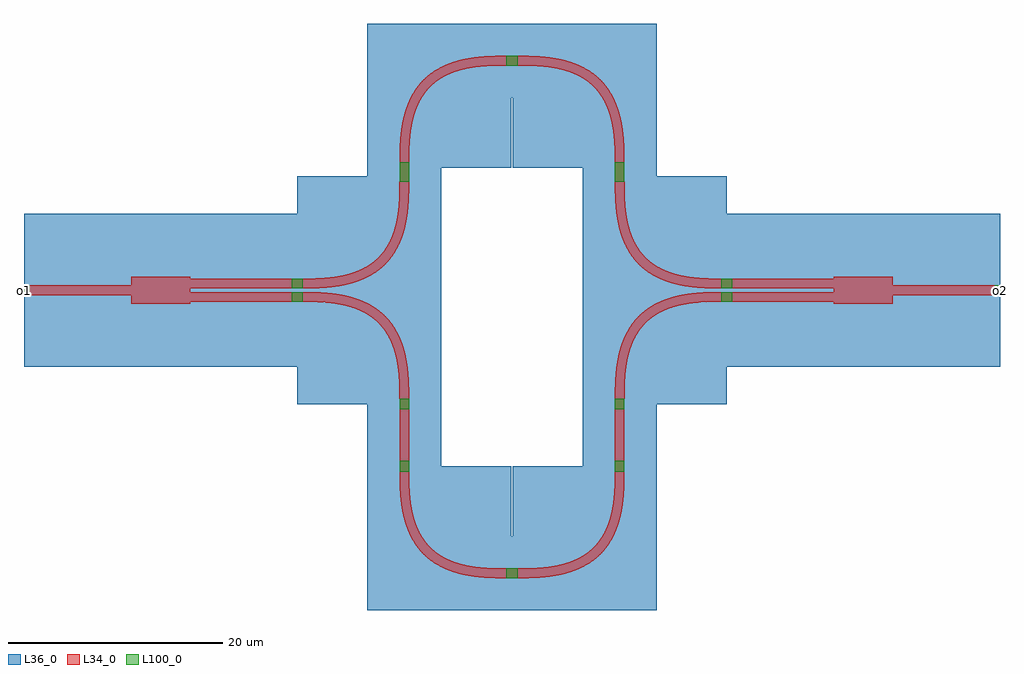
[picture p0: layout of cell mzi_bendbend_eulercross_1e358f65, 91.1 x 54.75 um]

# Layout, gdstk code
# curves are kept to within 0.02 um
from math import pi, radians
import gdstk
lib = gdstk.Library(unit=1e-6, precision=1e-09)
def R(c, l, rs):  # rectangles x0, y0, x1, y1
    for r in rs: c.add(gdstk.rectangle(r[:2], r[2:], *l))
def P(c, l, *ps):  # polygons
    for p in ps: c.add(gdstk.Polygon(p, *l))
L34_0 = (34, 0)
L36_0 = (36, 0)
L100_0 = (100, 0)

mmi1x2_cross_sectionfab_ = lib.new_cell('mmi1x2_cross_sectionfab_7f6a93e6')
R(mmi1x2_cross_sectionfab_, L34_0, [(-2.75,-1.25,2.75,1.25)])
P(mmi1x2_cross_sectionfab_, L34_0, [(12.75,-1.075),(2.75,-1.125),(2.75,-0.125),(12.75,-0.175)],
  [(12.75,0.175),(2.75,0.125),(2.75,1.125),(12.75,1.075)],
  [(-12.75,0.45),(-2.75,0.5),(-2.75,-0.5),(-12.75,-0.45)])
R(mmi1x2_cross_sectionfab_, L36_0, [(-12.75,-7.125,12.75,7.125), (2.75,-4.125,12.75,2.875), (-12.75,-3.5,-2.75,3.5), (2.75,-2.875,12.75,4.125)])
R(mmi1x2_cross_sectionfab_, L100_0, [(12.25,-1.075,12.75,-0.175), (-12.75,-0.45,-12.25,0.45), (12.25,0.175,12.75,1.075)])
mmi1x2_cross_sectionfab_.add(gdstk.Label('o3', (12.75,-0.625), layer=100, texttype=0))
mmi1x2_cross_sectionfab_.add(gdstk.Label('o2', (12.75,0.625), layer=100, texttype=0))
mmi1x2_cross_sectionfab_.add(gdstk.Label('o1', (-12.75,0), layer=100, texttype=0))

bend_euler_cross_sectio_ = lib.new_cell('bend_euler_cross_sectio_eee690af')
P(bend_euler_cross_sectio_, L34_0, [(0,-0.45),(1.608,-0.435),(2.805,-0.37),(4.007,-0.217),(4.916,-0.018),(5.81,0.269),(6.672,0.659),(7.523,1.192),(8.178,1.75),(8.778,2.437),(9.245,3.153),(9.658,4.006),(9.979,4.941),(10.217,5.993),(10.357,7.051),(10.429,8.201),(10.45,10),(9.55,10),(9.538,8.51),(9.477,7.317),(9.36,6.326),(9.16,5.358),(8.89,4.511),(8.525,3.711),(8.109,3.047),(7.578,2.422),(6.953,1.891),(6.289,1.475),(5.489,1.11),(4.642,0.84),(3.674,0.64),(2.683,0.523),(1.49,0.462),(0,0.45)])
R(bend_euler_cross_sectio_, L36_0, [(0,-3.45,13.45,10)])
R(bend_euler_cross_sectio_, L100_0, [(0,-0.45,0.5,0.45), (9.55,9.5,10.45,10)])
bend_euler_cross_sectio_.add(gdstk.Label('o1', (0,0), layer=100, texttype=0))
bend_euler_cross_sectio_.add(gdstk.Label('o2', (10,10), layer=100, texttype=0))

straight_cross_sectionf_ = lib.new_cell('straight_cross_sectionf_6f26f0ba')
R(straight_cross_sectionf_, L34_0, [(0,-0.45,0.8,0.45)])
R(straight_cross_sectionf_, L36_0, [(0,-3.45,0.8,3.45)])
R(straight_cross_sectionf_, L100_0, [(0,-0.45,0.5,0.45), (0.3,-0.45,0.8,0.45)])
straight_cross_sectionf_.add(gdstk.Label('o1', (0,0), layer=100, texttype=0))
straight_cross_sectionf_.add(gdstk.Label('o2', (0.8,0), layer=100, texttype=0))

c_straight_cross_sectionf_ = lib.new_cell('straight_cross_sectionf_95696871')
R(c_straight_cross_sectionf_, L34_0, [(0,-0.45,0.1,0.45)])
R(c_straight_cross_sectionf_, L36_0, [(0,-3.45,0.1,3.45)])
R(c_straight_cross_sectionf_, L100_0, [(-0.4,-0.45,0.1,0.45), (0,-0.45,0.5,0.45)])
c_straight_cross_sectionf_.add(gdstk.Label('o1', (0,0), layer=100, texttype=0))
c_straight_cross_sectionf_.add(gdstk.Label('o2', (0.1,0), layer=100, texttype=0))

mzi_arm_bendbend_eulerc_ = lib.new_cell('mzi_arm_bendbend_eulerc_c81fd012')
mzi_arm_bendbend_eulerc_.add(gdstk.Reference(bend_euler_cross_sectio_, (0,0)))
mzi_arm_bendbend_eulerc_.add(gdstk.Reference(straight_cross_sectionf_, (10,10), rotation=pi/2))
mzi_arm_bendbend_eulerc_.add(gdstk.Reference(bend_euler_cross_sectio_, (20,20.8), rotation=pi))
mzi_arm_bendbend_eulerc_.add(gdstk.Reference(c_straight_cross_sectionf_, (20,20.8)))
mzi_arm_bendbend_eulerc_.add(gdstk.Reference(bend_euler_cross_sectio_, (30.1,10.8), rotation=pi/2))
mzi_arm_bendbend_eulerc_.add(gdstk.Reference(straight_cross_sectionf_, (30.1,10.8), rotation=3*pi/2))
mzi_arm_bendbend_eulerc_.add(gdstk.Reference(bend_euler_cross_sectio_, (30.1,10), rotation=3*pi/2))

c_straight_cross_sectionf__ = lib.new_cell('straight_cross_sectionf_53ea7754')
R(c_straight_cross_sectionf__, L34_0, [(0,-0.45,5.8,0.45)])
R(c_straight_cross_sectionf__, L36_0, [(0,-3.45,5.8,3.45)])
R(c_straight_cross_sectionf__, L100_0, [(0,-0.45,0.5,0.45), (5.3,-0.45,5.8,0.45)])
c_straight_cross_sectionf__.add(gdstk.Label('o1', (0,0), layer=100, texttype=0))
c_straight_cross_sectionf__.add(gdstk.Label('o2', (5.8,0), layer=100, texttype=0))

c_mzi_arm_bendbend_eulerc_ = lib.new_cell('mzi_arm_bendbend_eulerc_536ce48b')
c_mzi_arm_bendbend_eulerc_.add(gdstk.Reference(bend_euler_cross_sectio_, (0,0)))
c_mzi_arm_bendbend_eulerc_.add(gdstk.Reference(c_straight_cross_sectionf__, (10,10), rotation=pi/2))
c_mzi_arm_bendbend_eulerc_.add(gdstk.Reference(bend_euler_cross_sectio_, (20,25.8), rotation=pi))
c_mzi_arm_bendbend_eulerc_.add(gdstk.Reference(c_straight_cross_sectionf_, (20,25.8)))
c_mzi_arm_bendbend_eulerc_.add(gdstk.Reference(bend_euler_cross_sectio_, (30.1,15.8), rotation=pi/2))
c_mzi_arm_bendbend_eulerc_.add(gdstk.Reference(c_straight_cross_sectionf__, (30.1,15.8), rotation=3*pi/2))
c_mzi_arm_bendbend_eulerc_.add(gdstk.Reference(bend_euler_cross_sectio_, (30.1,10), rotation=3*pi/2))

mzi_bendbend_eulercross_ = lib.new_cell('mzi_bendbend_eulercross_1e358f65')
R(mzi_bendbend_eulercross_, L100_0, [(-12.75,-0.45,-12.25,0.45), (77.85,-0.45,78.35,0.45)])
mzi_bendbend_eulercross_.add(gdstk.Reference(mmi1x2_cross_sectionfab_, (0,0)))
mzi_bendbend_eulercross_.add(gdstk.Reference(mmi1x2_cross_sectionfab_, (65.6,0), rotation=pi))
mzi_bendbend_eulercross_.add(gdstk.Reference(mzi_arm_bendbend_eulerc_, (12.75,0.625)))
mzi_bendbend_eulercross_.add(gdstk.Reference(c_mzi_arm_bendbend_eulerc_, (12.75,-0.625), x_reflection=True))
mzi_bendbend_eulercross_.add(gdstk.Label('o1', (-12.75,0), layer=100, texttype=0))
mzi_bendbend_eulercross_.add(gdstk.Label('o2', (78.35,0), layer=100, texttype=0))

lib.write_gds('mzi_bendbend_eulercross_1e358f65.gds')
